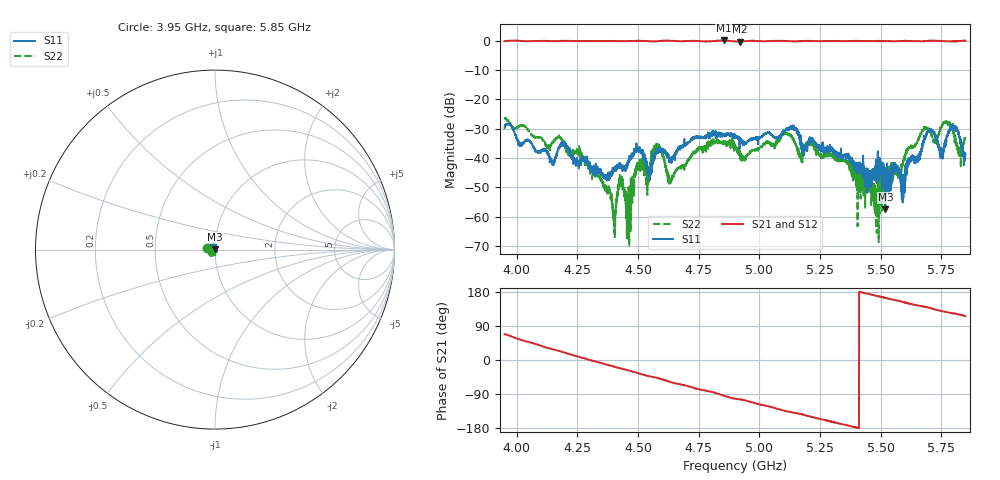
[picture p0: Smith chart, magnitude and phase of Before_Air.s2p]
# GHZ S RI R 50.000000000000
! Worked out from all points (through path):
!   4501 points, 3.95 GHz to 5.85 GHz, reference 50 ohm
!   highest |S21| = 0.10 dB at 4.853 GHz (marker M1); lowest = -0.3 dB at 4.919 GHz (marker M2)
!   group delay of S21, straight-line fit = 451 ps
!   lowest |S11| = -57.6 dB at 5.52 GHz (marker M3), VSWR 1.00, Z = 50 + j0.124 ohm
!   |S11| at or under -10 dB: start of sweep to end of sweep
!   |S22| runs from -70.1 to -26.4 dB; largest |S21 - S12| = 0.026
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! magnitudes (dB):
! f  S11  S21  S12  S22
! 3.95 GHz  -29.8  -0.1  -0.2  -26.6
! 4.267 GHz  -41.0  -0.1  -0.1  -39.3
! 4.403 GHz  -44.2  -0.1  -0.1  -62.1
! 4.427 GHz  -42.7  -0.1  -0.1  -47.4
! 4.46 GHz  -41.3  -0.1  -0.1  -50.0
! 4.496 GHz  -36.5  -0.1  0.0  -43.8
! 4.547 GHz  -44.2  -0.2  -0.2  -44.4
! 4.584 GHz  -38.2  -0.1  -0.2  -36.2
! 4.634 GHz  -40.5  0.0  0.0  -47.2
! 4.853 GHz  -31.9  0.1  0.1  -34.2
! 4.9 GHz  -32.4  -0.2  -0.2  -35.6
! 4.919 GHz  -36.8  -0.3  -0.3  -37.4
! 5.217 GHz  -33.6  -0.1  0.0  -35.5
! 5.485 GHz  -46.7  -0.1  -0.1  -54.4
! 5.52 GHz  -57.6  -0.1  0.0  -49.6
! 5.534 GHz  -46.2  -0.1  -0.1  -46.7
! 5.563 GHz  -42.6  -0.1  -0.1  -44.4
! 5.593 GHz  -50.0  -0.1  -0.1  -41.7
! 5.702 GHz  -30.8  0.0  0.0  -30.1
! 5.752 GHz  -36.8  -0.1  -0.1  -29.4
! 5.807 GHz  -29.6  -0.2  -0.3  -32.8
! 5.85 GHz  -39.0  0.0  0.0  -33.2
